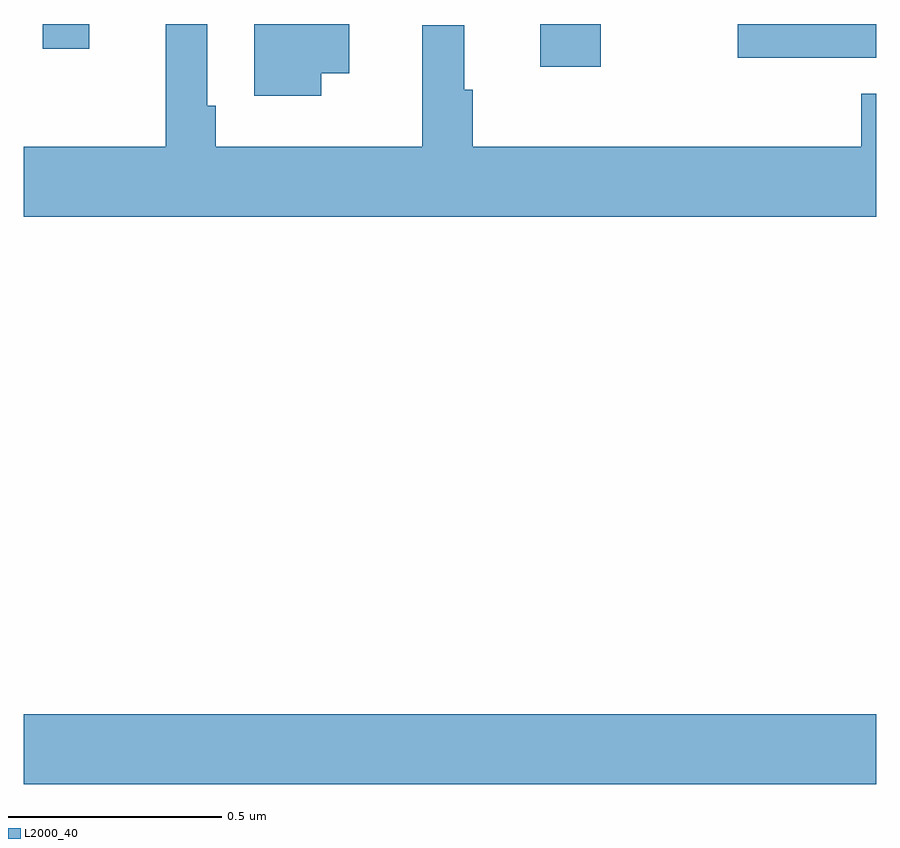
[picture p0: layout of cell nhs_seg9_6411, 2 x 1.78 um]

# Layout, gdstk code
import gdstk
lib = gdstk.Library(unit=1e-6, precision=1e-09)
def R(c, l, rs):  # rectangles x0, y0, x1, y1
    for r in rs: c.add(gdstk.rectangle(r[:2], r[2:], *l))
def P(c, l, *ps):  # polygons
    for p in ps: c.add(gdstk.Polygon(p, *l))
L2000_40 = (2000, 40)

nhs_seg9_6411 = lib.new_cell('nhs_seg9_6411')
R(nhs_seg9_6411, L2000_40, [(191,1233.716,193,1233.88), (192.212,1235.4,192.354,1235.5), (192.675,1235.421,193,1235.5), (191.044,1235.442,191.153,1235.5)])
P(nhs_seg9_6411, L2000_40, [(192.034,1235.346),(192.034,1235.497),(191.935,1235.497),(191.935,1235.212),(191.45,1235.212),(191.45,1235.308),(191.43,1235.308),(191.43,1235.5),(191.333,1235.5),(191.333,1235.212),(191,1235.212),(191,1235.048),(193,1235.048),(193,1235.336),(192.965,1235.336),(192.965,1235.212),(192.053,1235.212),(192.053,1235.346)],
  [(191.698,1235.384),(191.764,1235.384),(191.764,1235.5),(191.54,1235.5),(191.54,1235.331),(191.698,1235.331)])

lib.write_gds('nhs_seg9_6411.gds')
